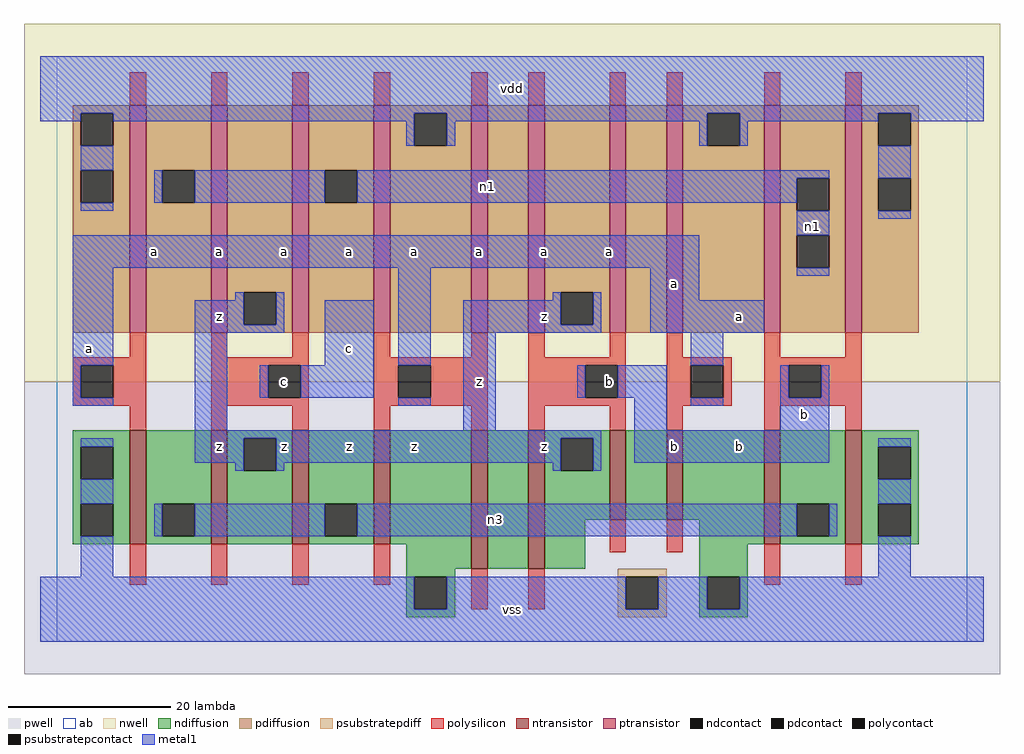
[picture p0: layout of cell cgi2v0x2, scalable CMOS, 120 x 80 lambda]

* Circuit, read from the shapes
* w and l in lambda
.subckt cgi2v0x2 a b c n1 n3 vdd vss z
M1 n3 a vss vss nfet w=14 l=2 m=2
M2 z c n3 vss nfet w=14 l=2 m=2
M3 n2 a vss vss nfet w=17 l=2
M4 z b n2 vss nfet w=17 l=2
M5 n4 b z vss nfet w=11 l=2
M6 vss a n4 vss nfet w=11 l=2
M7 n3 b vss vss nfet w=14 l=2 m=2
M8 n1 a vdd n5 pfet w=28 l=2 m=2
M9 z c n1 n5 pfet w=28 l=2 m=2
M10 n6 a vdd n5 pfet w=28 l=2
M11 z b n6 n5 pfet w=28 l=2
M12 n7 b z n5 pfet w=28 l=2
M13 vdd a n7 n5 pfet w=28 l=2
M14 n1 b vdd n5 pfet w=28 l=2 m=2
.ends

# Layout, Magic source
magic
tech scmos
<< ab >>
rect 0 0 112 72
<< pwell >>
rect -4 -4 116 32
<< nwell >>
rect -4 32 116 76
<< polysilicon >>
rect 9 66 11 70
rect 19 66 21 70
rect 29 66 31 70
rect 39 66 41 70
rect 51 66 53 70
rect 58 66 60 70
rect 68 66 70 70
rect 75 66 77 70
rect 87 66 89 70
rect 97 66 99 70
rect 9 35 11 38
rect 2 34 11 35
rect 2 30 3 34
rect 7 30 11 34
rect 2 29 11 30
rect 9 26 11 29
rect 19 35 21 38
rect 29 35 31 38
rect 19 34 31 35
rect 19 30 26 34
rect 30 30 31 34
rect 19 29 31 30
rect 19 26 21 29
rect 29 26 31 29
rect 39 35 41 38
rect 51 35 53 38
rect 39 34 53 35
rect 39 30 42 34
rect 46 30 53 34
rect 39 29 53 30
rect 39 26 41 29
rect 51 26 53 29
rect 58 35 60 38
rect 68 35 70 38
rect 58 34 70 35
rect 58 30 65 34
rect 69 30 70 34
rect 58 29 70 30
rect 58 26 60 29
rect 68 26 70 29
rect 75 35 77 38
rect 87 35 89 38
rect 97 35 99 38
rect 75 34 83 35
rect 75 30 78 34
rect 82 30 83 34
rect 75 29 83 30
rect 87 34 99 35
rect 87 30 90 34
rect 94 30 99 34
rect 87 29 99 30
rect 75 26 77 29
rect 87 26 89 29
rect 97 26 99 29
rect 9 7 11 12
rect 19 7 21 12
rect 29 7 31 12
rect 39 7 41 12
rect 68 11 70 15
rect 75 11 77 15
rect 51 4 53 9
rect 58 4 60 9
rect 87 7 89 12
rect 97 7 99 12
<< ndiffusion >>
rect 2 24 9 26
rect 2 20 3 24
rect 7 20 9 24
rect 2 17 9 20
rect 2 13 3 17
rect 7 13 9 17
rect 2 12 9 13
rect 11 17 19 26
rect 11 13 13 17
rect 17 13 19 17
rect 11 12 19 13
rect 21 25 29 26
rect 21 21 23 25
rect 27 21 29 25
rect 21 12 29 21
rect 31 17 39 26
rect 31 13 33 17
rect 37 13 39 17
rect 31 12 39 13
rect 41 12 51 26
rect 43 9 51 12
rect 53 9 58 26
rect 60 25 68 26
rect 60 21 62 25
rect 66 21 68 25
rect 60 15 68 21
rect 70 15 75 26
rect 77 15 87 26
rect 60 9 65 15
rect 79 12 87 15
rect 89 17 97 26
rect 89 13 91 17
rect 95 13 97 17
rect 89 12 97 13
rect 99 24 106 26
rect 99 20 101 24
rect 105 20 106 24
rect 99 17 106 20
rect 99 13 101 17
rect 105 13 106 17
rect 99 12 106 13
rect 43 8 49 9
rect 43 4 44 8
rect 48 4 49 8
rect 43 3 49 4
rect 79 8 85 12
rect 79 4 80 8
rect 84 4 85 8
rect 79 3 85 4
<< pdiffusion >>
rect 2 65 9 66
rect 2 61 3 65
rect 7 61 9 65
rect 2 58 9 61
rect 2 54 3 58
rect 7 54 9 58
rect 2 38 9 54
rect 11 58 19 66
rect 11 54 13 58
rect 17 54 19 58
rect 11 38 19 54
rect 21 43 29 66
rect 21 39 23 43
rect 27 39 29 43
rect 21 38 29 39
rect 31 58 39 66
rect 31 54 33 58
rect 37 54 39 58
rect 31 38 39 54
rect 41 65 51 66
rect 41 61 44 65
rect 48 61 51 65
rect 41 38 51 61
rect 53 38 58 66
rect 60 43 68 66
rect 60 39 62 43
rect 66 39 68 43
rect 60 38 68 39
rect 70 38 75 66
rect 77 65 87 66
rect 77 61 80 65
rect 84 61 87 65
rect 77 38 87 61
rect 89 57 97 66
rect 89 53 91 57
rect 95 53 97 57
rect 89 50 97 53
rect 89 46 91 50
rect 95 46 97 50
rect 89 38 97 46
rect 99 65 106 66
rect 99 61 101 65
rect 105 61 106 65
rect 99 57 106 61
rect 99 53 101 57
rect 105 53 106 57
rect 99 38 106 53
<< metal1 >>
rect -2 65 114 72
rect -2 64 3 65
rect 7 64 44 65
rect 43 61 44 64
rect 48 64 80 65
rect 48 61 49 64
rect 79 61 80 64
rect 84 64 101 65
rect 84 61 85 64
rect 105 64 114 65
rect 3 58 7 61
rect 12 54 13 58
rect 17 54 33 58
rect 37 57 95 58
rect 37 54 91 57
rect 3 53 7 54
rect 91 50 95 53
rect 101 57 105 61
rect 101 52 105 53
rect 2 46 79 50
rect 2 34 7 46
rect 22 42 23 43
rect 2 30 3 34
rect 2 29 7 30
rect 17 39 23 42
rect 27 39 28 43
rect 17 38 28 39
rect 17 26 21 38
rect 33 34 39 42
rect 25 30 26 34
rect 30 30 39 34
rect 42 34 46 46
rect 61 42 62 43
rect 42 29 46 30
rect 50 39 62 42
rect 66 39 67 43
rect 50 38 67 39
rect 73 42 79 46
rect 91 45 95 46
rect 73 38 87 42
rect 50 26 54 38
rect 78 34 82 38
rect 64 30 65 34
rect 69 30 75 34
rect 71 26 75 30
rect 78 29 82 30
rect 89 30 90 34
rect 94 30 95 34
rect 89 26 95 30
rect 17 25 67 26
rect 3 24 7 25
rect 17 22 23 25
rect 22 21 23 22
rect 27 22 62 25
rect 27 21 28 22
rect 61 21 62 22
rect 66 21 67 25
rect 71 22 95 26
rect 101 24 105 25
rect 3 17 7 20
rect 101 17 105 20
rect 12 13 13 17
rect 17 13 33 17
rect 37 13 91 17
rect 95 13 96 17
rect 3 8 7 13
rect 101 8 105 13
rect -2 4 44 8
rect 48 4 70 8
rect 74 4 80 8
rect 84 4 114 8
rect -2 0 114 4
<< ntransistor >>
rect 9 12 11 26
rect 19 12 21 26
rect 29 12 31 26
rect 39 12 41 26
rect 51 9 53 26
rect 58 9 60 26
rect 68 15 70 26
rect 75 15 77 26
rect 87 12 89 26
rect 97 12 99 26
<< ptransistor >>
rect 9 38 11 66
rect 19 38 21 66
rect 29 38 31 66
rect 39 38 41 66
rect 51 38 53 66
rect 58 38 60 66
rect 68 38 70 66
rect 75 38 77 66
rect 87 38 89 66
rect 97 38 99 66
<< polycontact >>
rect 3 30 7 34
rect 26 30 30 34
rect 42 30 46 34
rect 65 30 69 34
rect 78 30 82 34
rect 90 30 94 34
<< ndcontact >>
rect 3 20 7 24
rect 3 13 7 17
rect 13 13 17 17
rect 23 21 27 25
rect 33 13 37 17
rect 62 21 66 25
rect 91 13 95 17
rect 101 20 105 24
rect 101 13 105 17
rect 44 4 48 8
rect 80 4 84 8
<< pdcontact >>
rect 3 61 7 65
rect 3 54 7 58
rect 13 54 17 58
rect 23 39 27 43
rect 33 54 37 58
rect 44 61 48 65
rect 62 39 66 43
rect 80 61 84 65
rect 91 53 95 57
rect 91 46 95 50
rect 101 61 105 65
rect 101 53 105 57
<< psubstratepcontact >>
rect 70 4 74 8
<< psubstratepdiff >>
rect 69 8 75 9
rect 69 4 70 8
rect 74 4 75 8
rect 69 3 75 4
<< labels >>
rlabel metal1 4 36 4 36 6 a
rlabel metal1 12 48 12 48 6 a
rlabel metal1 20 24 20 24 6 z
rlabel metal1 36 24 36 24 6 z
rlabel metal1 28 24 28 24 6 z
rlabel polycontact 28 32 28 32 6 c
rlabel metal1 20 40 20 40 6 z
rlabel metal1 36 36 36 36 6 c
rlabel metal1 20 48 20 48 6 a
rlabel metal1 36 48 36 48 6 a
rlabel metal1 28 48 28 48 6 a
rlabel metal1 56 4 56 4 6 vss
rlabel metal1 44 24 44 24 6 z
rlabel metal1 60 24 60 24 6 z
rlabel metal1 52 32 52 32 6 z
rlabel metal1 60 40 60 40 6 z
rlabel metal1 44 48 44 48 6 a
rlabel metal1 60 48 60 48 6 a
rlabel metal1 52 48 52 48 6 a
rlabel metal1 56 68 56 68 6 vdd
rlabel metal1 84 24 84 24 6 b
rlabel metal1 76 24 76 24 6 b
rlabel polycontact 68 32 68 32 6 b
rlabel metal1 84 40 84 40 6 a
rlabel metal1 76 44 76 44 6 a
rlabel metal1 68 48 68 48 6 a
rlabel metal1 54 15 54 15 6 n3
rlabel metal1 92 28 92 28 6 b
rlabel metal1 93 51 93 51 6 n1
rlabel metal1 53 56 53 56 6 n1
<< end >>
